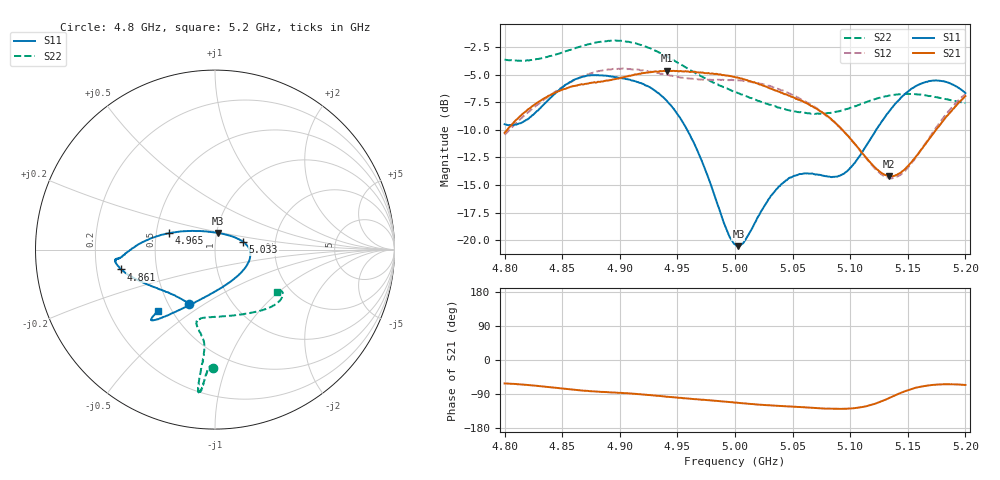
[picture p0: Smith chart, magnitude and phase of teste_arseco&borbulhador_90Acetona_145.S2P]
! Network Analyzer HP8722D
! Hewlett-Packard
! Data name: Linha & Wilkinson
! Saver's name: Rodrigo Anjos
! Comments: Teste da utilização de aquisição
! continua pelo VNA HP8722D
! Time and date: 17/4/2025 12:15
!  Frequency  S11  S21  S12  S22
# HZ  S  MA R 50
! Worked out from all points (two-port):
!   401 points, 4.8 GHz to 5.2 GHz, reference 50 ohm
!   highest |S21| = -4.64 dB at 4.941 GHz (marker M1); lowest = -14.2 dB at 5.134 GHz (marker M2)
!   |S21| within 3 dB of the highest: 4.827 GHz to 5.063 GHz (236.1 MHz wide, 4.77 % of centre); 5.193406 GHz to end of sweep
!   lowest |S11| = -20.5 dB at 5.003 GHz (marker M3), VSWR 1.21, Z = 50.9 + j9.47 ohm
!   |S11| at or under -10 dB: 4.958 GHz to 5.123 GHz (164.1 MHz wide, 3.26 % of centre)
!   |S22| runs from -8.6 to -1.9 dB; largest |S21 - S12| = 0.88
!   S11 on the Smith chart (normalised r, x): 4.8 GHz: 0.63, -0.43; 4.861 GHz: 0.31, -0.09; 4.965 GHz: 0.59, +0.12; 5.033 GHz: 1.37, +0.12; 5.2 GHz: 0.43, -0.37
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4.8e9  0.3352 -116.0  0.3062 -61.9  0.3001 -176.2  0.6573 -90.7
4.819e9  0.3511 -136.2  0.3856 -65.5  0.3737 -175.3  0.6524 -92.4
4.861e9  0.5349 -168.1  0.5003 -78.9  0.5326 -178.6  0.7399 -94.9
4.867e9  0.5486 -170.5  0.5092 -80.4  0.5507 -179.8  0.7576 -95.0
4.901e9  0.5434 -174.7  0.5445 -86.7  0.5983 173.7  0.8007 -96.5
4.934e9  0.4619 179.2  0.5812 -94.9  0.5714 170.6  0.7086 -96.9
4.941e9  0.4268 176.0  0.5862 -96.9  0.5612 170.6  0.6797 -96.7
4.965e9  0.2711 160.2  0.5801 -103.4  0.5373 172.6  0.5749 -96.1
4.993e9  0.1105 114.2  0.5568 -110.4  0.5317 174.9  0.487 -98.7
5e9  0.09566 90.7  0.5484 -112.5  0.5309 174.9  0.4697 -100.2
5.003e9  0.09386 79.0  0.5436 -113.1  0.5301 174.9  0.463 -100.9
5.033e9  0.1628 15.4  0.4814 -120.2  0.4925 173.6  0.4062 -104.0
5.048e9  0.1922 0.5  0.4495 -122.6  0.4604 173.0  0.3861 -100.2
5.067e9  0.2005 -19.4  0.4048 -126.0  0.4069 172.7  0.3753 -89.6
5.086e9  0.1934 -50.0  0.3445 -129.0  0.3437 173.1  0.3797 -75.1
5.097e9  0.2046 -72.1  0.3003 -128.6  0.3005 174.7  0.3927 -66.3
5.121e9  0.3062 -109.6  0.2145 -116.1  0.2126 -170.9  0.4346 -49.8
5.134e9  0.3842 -119.9  0.195 -100.2  0.191 -153.2  0.4524 -43.3
5.147e9  0.4561 -126.1  0.2084 -83.0  0.2043 -133.6  0.4594 -38.3
5.167e9  0.5219 -131.2  0.2796 -67.5  0.2829 -114.1  0.4514 -33.3
5.183e9  0.5216 -132.7  0.36 -64.0  0.3707 -108.5  0.4354 -32.0
5.2e9  0.4638 -132.8  0.4498 -65.9  0.4598 -108.1  0.4174 -34.6
